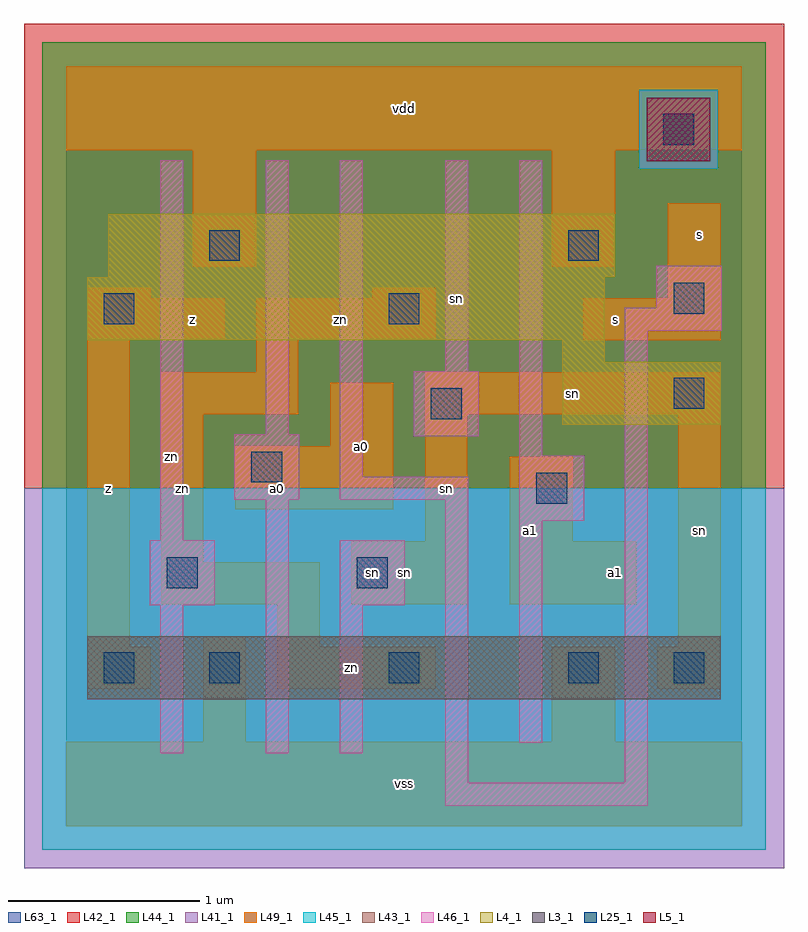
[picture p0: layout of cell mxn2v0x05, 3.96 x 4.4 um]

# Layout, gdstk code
import gdstk
lib = gdstk.Library(unit=1e-6, precision=1e-09)
def R(c, l, rs):  # rectangles x0, y0, x1, y1
    for r in rs: c.add(gdstk.rectangle(r[:2], r[2:], *l))
def A(c, l, x, y, w, h, nx, ny, dx, dy):  # array of equal rectangles
    R(c, l, [(x+i*dx, y+j*dy, x+i*dx+w, y+j*dy+h) for i in range(nx) for j in range(ny)])
L3_1 = (3, 1)
L4_1 = (4, 1)
L5_1 = (5, 1)
L25_1 = (25, 1)
L41_1 = (41, 1)
L42_1 = (42, 1)
L43_1 = (43, 1)
L44_1 = (44, 1)
L45_1 = (45, 1)
L46_1 = (46, 1)
L49_1 = (49, 1)
L63_1 = (63, 1)

mxn2v0x05 = lib.new_cell('mxn2v0x05')
R(mxn2v0x05, L3_1, [(0.11,0.66,3.41,0.99)])
R(mxn2v0x05, L4_1, [(2.585,2.09,3.41,2.42), (2.585,2.42,2.805,2.53), (0.11,2.53,2.805,2.86), (0.22,2.86,2.86,3.19)])
R(mxn2v0x05, L5_1, [(3.025,3.465,3.355,3.795)])
A(mxn2v0x05, L25_1, 0.745, 0.745, 0.16, 0.16, 3, 1, 0.935, 0)
R(mxn2v0x05, L25_1, [(0.195,0.745,0.355,0.905), (3.165,0.745,3.325,0.905), (0.525,1.24,0.685,1.4), (1.515,1.24,1.675,1.4), (2.45,1.68,2.61,1.84), (0.965,1.79,1.125,1.95), (1.9,2.12,2.06,2.28), (3.165,2.175,3.325,2.335), (0.195,2.615,0.355,2.775), (1.68,2.615,1.84,2.775), (3.165,2.67,3.325,2.83), (0.745,2.945,0.905,3.105), (2.615,2.945,2.775,3.105), (3.11,3.55,3.27,3.71)])
R(mxn2v0x05, L41_1, [(-0.22,-0.22,3.74,1.76)])
R(mxn2v0x05, L42_1, [(-0.22,1.76,3.74,4.18)])
R(mxn2v0x05, L43_1, [(0.11,0.66,3.41,0.99), (2.585,2.09,3.41,2.42), (2.585,2.42,2.805,2.53), (0.11,2.53,2.805,2.86), (0.22,2.86,2.86,3.19), (3.025,3.465,3.355,3.795)])
R(mxn2v0x05, L44_1, [(-0.125,1.76,3.645,3.425), (-0.125,3.425,2.985,3.835), (3.395,3.425,3.645,3.835), (-0.125,3.835,3.645,4.085)])
R(mxn2v0x05, L45_1, [(-0.125,-0.125,3.645,1.76), (2.985,3.425,3.395,3.835)])
R(mxn2v0x05, L46_1, [(1.975,0.105,3.03,0.225), (1.975,0.225,2.095,1.7), (2.91,0.225,3.03,2.58), (0.49,0.38,0.61,1.15), (1.04,0.38,1.16,1.7), (1.425,0.38,1.545,1.15), (2.36,0.435,2.48,1.59), (0.435,1.15,0.775,1.49), (1.425,1.15,1.765,1.49), (0.49,1.49,0.61,3.47), (2.36,1.59,2.7,1.93), (0.875,1.7,1.215,2.04), (1.425,1.7,2.095,1.82), (1.425,1.82,1.545,3.47), (2.36,1.93,2.48,3.47), (1.81,2.03,2.15,2.37), (1.04,2.04,1.16,3.47), (1.975,2.37,2.095,3.47), (2.91,2.58,3.415,2.7), (3.075,2.7,3.415,2.92)])
R(mxn2v0x05, L49_1, [(0,0,3.52,0.44), (0.715,0.44,0.935,0.99), (2.53,0.44,2.86,0.935), (0.11,0.715,0.44,0.935), (1.1,0.715,1.925,0.935), (3.08,0.715,3.41,0.935), (0.11,0.935,0.33,2.53), (1.1,0.935,1.32,1.155), (3.19,0.935,3.41,2.145), (0.495,1.155,1.32,1.375), (1.485,1.155,2.09,1.485), (2.31,1.155,2.97,1.485), (0.495,1.375,0.715,2.145), (1.87,1.485,2.09,2.145), (2.31,1.485,2.64,1.925), (0.88,1.65,1.705,1.98), (1.375,1.98,1.705,2.31), (0.495,2.145,1.21,2.365), (1.87,2.145,3.41,2.365), (0.99,2.365,1.21,2.53), (0.11,2.53,0.825,2.75), (0.99,2.53,1.925,2.75), (2.695,2.53,3.41,2.75), (0.11,2.75,0.44,2.805), (1.595,2.75,1.925,2.805), (3.135,2.75,3.41,3.245), (0.66,2.915,0.99,3.52), (2.53,2.915,2.86,3.52), (0,3.52,3.52,3.96)])
R(mxn2v0x05, L63_1, [(0,0,3.52,3.96)])
mxn2v0x05.add(gdstk.Label('zn', (0.55,1.925), layer=46, texttype=1))
mxn2v0x05.add(gdstk.Label('sn', (1.595,1.32), layer=49, texttype=1))
mxn2v0x05.add(gdstk.Label('sn', (2.035,2.75), layer=46, texttype=1))
mxn2v0x05.add(gdstk.Label('z', (0.22,1.76), layer=49, texttype=1))
mxn2v0x05.add(gdstk.Label('zn', (0.605,1.76), layer=49, texttype=1))
mxn2v0x05.add(gdstk.Label('z', (0.66,2.64), layer=49, texttype=1))
mxn2v0x05.add(gdstk.Label('a0', (1.1,1.76), layer=49, texttype=1))
mxn2v0x05.add(gdstk.Label('a0', (1.54,1.98), layer=49, texttype=1))
mxn2v0x05.add(gdstk.Label('vss', (1.76,0.22), layer=49, texttype=1))
mxn2v0x05.add(gdstk.Label('zn', (1.485,0.825), layer=49, texttype=1))
mxn2v0x05.add(gdstk.Label('sn', (1.76,1.32), layer=49, texttype=1))
mxn2v0x05.add(gdstk.Label('a1', (2.42,1.54), layer=49, texttype=1))
mxn2v0x05.add(gdstk.Label('sn', (1.98,1.76), layer=49, texttype=1))
mxn2v0x05.add(gdstk.Label('zn', (1.43,2.64), layer=49, texttype=1))
mxn2v0x05.add(gdstk.Label('vdd', (1.76,3.74), layer=49, texttype=1))
mxn2v0x05.add(gdstk.Label('a1', (2.86,1.32), layer=49, texttype=1))
mxn2v0x05.add(gdstk.Label('sn', (3.3,1.54), layer=49, texttype=1))
mxn2v0x05.add(gdstk.Label('s', (2.86,2.64), layer=49, texttype=1))
mxn2v0x05.add(gdstk.Label('sn', (2.64,2.255), layer=49, texttype=1))
mxn2v0x05.add(gdstk.Label('s', (3.3,3.08), layer=49, texttype=1))

lib.write_gds('mxn2v0x05.gds')
